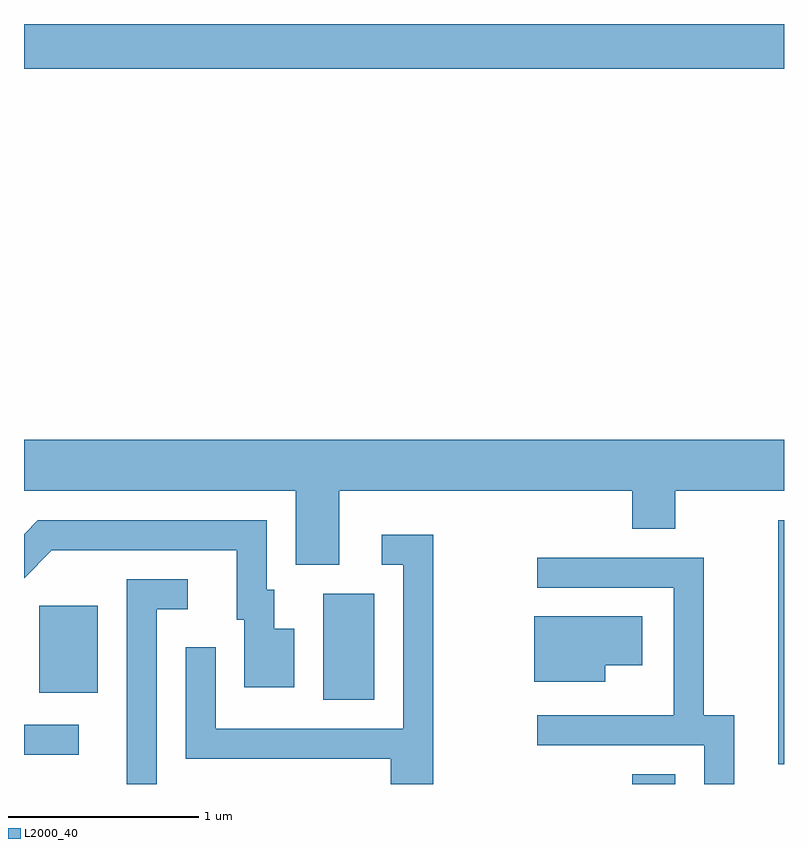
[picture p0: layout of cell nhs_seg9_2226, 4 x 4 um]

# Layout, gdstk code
import gdstk
lib = gdstk.Library(unit=1e-6, precision=1e-09)
def R(c, l, rs):  # rectangles x0, y0, x1, y1
    for r in rs: c.add(gdstk.rectangle(r[:2], r[2:], *l))
def P(c, l, *ps):  # polygons
    for p in ps: c.add(gdstk.Polygon(p, *l))
L2000_40 = (2000, 40)

nhs_seg9_2226 = lib.new_cell('nhs_seg9_2226')
R(nhs_seg9_2226, L2000_40, [(252.811,2052.432,253.039,2052.484), (253.581,2052.536,253.611,2053.819), (249.611,2052.586,249.898,2052.744), (251.186,2052.876,251.454,2053.434), (249.691,2052.911,249.999,2053.369), (249.611,2056.196,253.611,2056.432)])
P(nhs_seg9_2226, L2000_40, [(251.269,2053.976),(252.811,2053.976),(252.811,2053.776),(253.039,2053.776),(253.039,2053.976),(253.611,2053.976),(253.611,2054.244),(249.611,2054.244),(249.611,2053.976),(251.041,2053.976),(251.041,2053.586),(251.269,2053.586)],
  [(251.034,2053.249),(250.929,2053.249),(250.929,2053.454),(250.889,2053.454),(250.889,2053.819),(249.684,2053.819),(249.611,2053.746),(249.611,2053.515),(249.757,2053.661),(250.731,2053.661),(250.731,2053.296),(250.771,2053.296),(250.771,2052.941),(251.034,2052.941)],
  [(251.764,2053.744),(251.493,2053.744),(251.493,2053.586),(251.606,2053.586),(251.606,2052.724),(250.619,2052.724),(250.619,2053.153),(250.461,2053.153),(250.461,2052.566),(251.541,2052.566),(251.541,2052.432),(251.764,2052.432)],
  [(253.349,2052.794),(253.189,2052.794),(253.189,2053.624),(252.313,2053.624),(252.313,2053.466),(253.031,2053.466),(253.031,2052.794),(252.313,2052.794),(252.313,2052.636),(253.191,2052.636),(253.191,2052.432),(253.349,2052.432)],
  [(250.309,2053.351),(250.473,2053.351),(250.473,2053.509),(250.151,2053.509),(250.151,2052.432),(250.309,2052.432)],
  [(252.669,2053.056),(252.864,2053.056),(252.864,2053.314),(252.296,2053.314),(252.296,2052.971),(252.669,2052.971)])

lib.write_gds('nhs_seg9_2226.gds')
